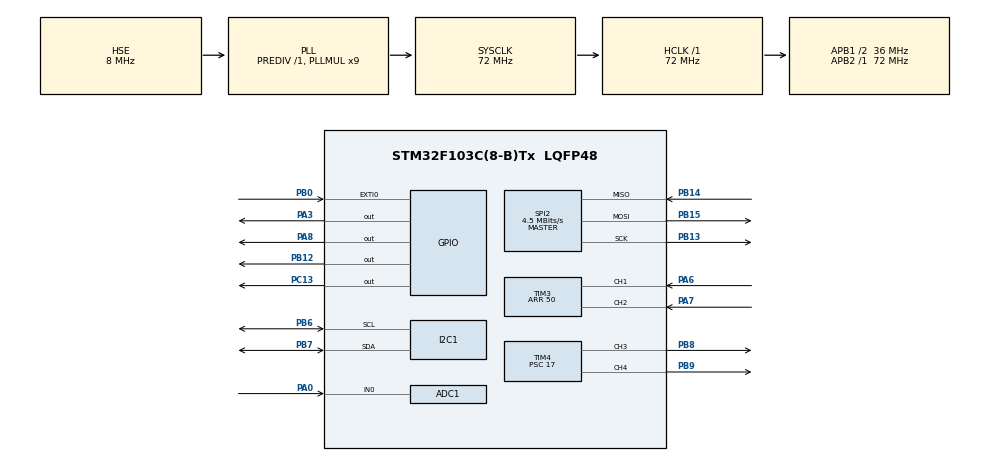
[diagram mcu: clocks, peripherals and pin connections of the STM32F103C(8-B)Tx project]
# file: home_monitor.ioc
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ADC1.Channel-0\#ChannelRegularConversion=ADC_CHANNEL_0
ADC1.ContinuousConvMode=ENABLE
ADC1.NbrOfConversion=1
ADC1.NbrOfConversionFlag=1
ADC1.Rank-0\#ChannelRegularConversion=1
ADC1.SamplingTime-0\#ChannelRegularConversion=ADC_SAMPLETIME_71CYCLES_5
ADC1.master=1
Mcu.Family=STM32F1
Mcu.Name=STM32F103C(8-B)Tx
Mcu.Package=LQFP48
NVIC.EXTI0_IRQn=true\:0\:0\:false\:false\:true\:true\:true\:true
NVIC.PriorityGroup=NVIC_PRIORITYGROUP_4
PA0-WKUP.Signal=ADCx_IN0
PA13.Mode=Serial_Wire
PA13.Signal=SYS_JTMS-SWDIO
PA14.Mode=Serial_Wire
PA14.Signal=SYS_JTCK-SWCLK
PA3.PinState=GPIO_PIN_SET
PA3.Signal=GPIO_Output
PA6.Signal=S_TIM3_CH1
PA7.Signal=S_TIM3_CH2
PA8.Signal=GPIO_Output
PB0.GPIO_ModeDefaultEXTI=GPIO_MODE_IT_FALLING
PB0.GPIO_PuPd=GPIO_PULLUP
PB0.Signal=GPXTI0
PB12.PinState=GPIO_PIN_SET
PB12.Signal=GPIO_Output
PB13.Mode=Full_Duplex_Master
PB13.Signal=SPI2_SCK
PB14.Mode=Full_Duplex_Master
PB14.Signal=SPI2_MISO
PB15.Mode=Full_Duplex_Master
PB15.Signal=SPI2_MOSI
PB6.Mode=I2C
PB6.Signal=I2C1_SCL
PB7.Mode=I2C
PB7.Signal=I2C1_SDA
PB8.Signal=S_TIM4_CH3
PB9.Signal=S_TIM4_CH4
PC13-TAMPER-RTC.PinState=GPIO_PIN_SET
PC13-TAMPER-RTC.Signal=GPIO_Output
PD0-OSC_IN.Mode=HSE-External-Oscillator
PD0-OSC_IN.Signal=RCC_OSC_IN
PD1-OSC_OUT.Mode=HSE-External-Oscillator
PD1-OSC_OUT.Signal=RCC_OSC_OUT
ProjectManager.HeapSize=0x200
ProjectManager.StackSize=0x400
ProjectManager.TargetToolchain=MDK-ARM V5.32
RCC.ADCPresc=RCC_ADCPCLK2_DIV6
RCC.AHBFreq_Value=72000000
RCC.APB1CLKDivider=RCC_HCLK_DIV2
RCC.APB1Freq_Value=36000000
RCC.APB1TimFreq_Value=72000000
RCC.APB2Freq_Value=72000000
RCC.APB2TimFreq_Value=72000000
RCC.HCLKFreq_Value=72000000
RCC.PLLMUL=RCC_PLL_MUL9
RCC.PLLSourceVirtual=RCC_PLLSOURCE_HSE
RCC.SYSCLKFreq_VALUE=72000000
RCC.SYSCLKSource=RCC_SYSCLKSOURCE_PLLCLK
RCC.USBFreq_Value=72000000
SH.ADCx_IN0.0=ADC1_IN0,IN0
SH.S_TIM3_CH1.0=TIM3_CH1,Encoder_Interface
SH.S_TIM3_CH2.0=TIM3_CH2,Encoder_Interface
SH.S_TIM4_CH3.0=TIM4_CH3,PWM Generation3 CH3
SH.S_TIM4_CH4.0=TIM4_CH4,PWM Generation4 CH4
SPI2.BaudRatePrescaler=SPI_BAUDRATEPRESCALER_8
SPI2.CalculateBaudRate=4.5 MBits/s
SPI2.Direction=SPI_DIRECTION_2LINES
SPI2.Mode=SPI_MODE_MASTER
SPI2.VirtualType=VM_MASTER
TIM3.AutoReloadPreload=TIM_AUTORELOAD_PRELOAD_ENABLE
TIM3.Period=50
TIM4.Channel-PWM\ Generation3\ CH3=TIM_CHANNEL_3
TIM4.Channel-PWM\ Generation4\ CH4=TIM_CHANNEL_4
TIM4.Period=99
TIM4.Prescaler=17
VP_TIM4_VS_ClockSourceINT.Mode=Internal
board=custom

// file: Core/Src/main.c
/* USER CODE BEGIN Header */
/**
  ******************************************************************************
  * @file           : main.c
  * @brief          : 家庭环境监测�? �? 主程�?
  *   DHT11 温湿�? + 光敏(ADC)光照 �? OLED显示 �? 自动风扇控制
  *   �? 蜂鸣�?/LED报警 �? W25Qxx日志记录 �?
  ******************************************************************************
  */
/* USER CODE END Header */
#include "main.h"

/* USER CODE BEGIN Includes */
#include "oled_ssd1306.h"
#include "encoder.h"
#include "dht11.h"
#include "motor_l9110s.h"
#include "w25qxx.h"
#include "buzzer.h"
#include "light_sensor.h"
#include <string.h>
#include <stdio.h>
/* USER CODE END Includes */

/* USER CODE BEGIN PD */
/* 系统配置 */
#define LOG_INTERVAL_S    60    /* Flash 数据记录间隔（秒�? */
#define SENSOR_READ_MS    1200  /* DHT11 读取间隔（毫秒） */
#define FLASH_CFG_ADDR    0x000000  /* 配置区（扇区0�?4KB�? */
#define FLASH_LOG_ADDR    0x001000  /* 日志区（扇区1�?4KB�? */
#define FLASH_LOG_SIZE    4096
/* 每条日志 8 字节：温�?(1) + 湿度(1) + 光照(1) + 风扇(1) + 序列�?(2) + 标志(1) + 保留(1) */
#define LOG_ENTRY_SIZE    8
/* USER CODE END PD */

ADC_HandleTypeDef hadc1;

I2C_HandleTypeDef hi2c1;

SPI_HandleTypeDef hspi2;

TIM_HandleTypeDef htim3;
TIM_HandleTypeDef htim4;

/* USER CODE BEGIN PV */
/* �?�? 传感器数�? �?�? */
uint8_t  dht_temp = 0, dht_hum = 0, dht_ok = 0;
uint8_t  light_level = 0;           /* B2K 电位�? �? 光照 0~100% */
uint32_t sensor_tick = 0;

/* �?�? 控制状�?? �?�? */
uint8_t  page = 0;                  /* 0=仪表�? 1=设置 2=日志 */
uint8_t  manual_mode = 0;           /* 0=自动 1=手动 */
uint8_t  motor_speed = 0;
uint8_t  temp_threshold = 30;       /* 温度报警阈�?? */
uint8_t  light_threshold = 80;      /* 光照报警阈�?? */

/* �?�? 报警状�?? �?�? */
uint8_t  alarm_temp = 0;            /* 温度告警 */
uint8_t  alarm_light = 0;           /* 强光告警 */
uint32_t alarm_tick = 0;
uint8_t  alarm_blink = 0;
uint32_t buzzer_tick = 0;
uint8_t  buzzer_beeping = 0;

/* �?�? Flash 日志 �?�? */
uint32_t log_count = 0;             /* 已记录条�? */
uint32_t log_tick = 0;

/* �?�? 编码器辅�? �?�? */
int32_t  enc_last = 0;
uint8_t  set_item = 0;   /* 设置�?: 0=调节 1=模式 2=保存 */
uint8_t  set_focus = 0;  /* 0=调温�? 1=调光�? */
/* USER CODE END PV */

void SystemClock_Config(void);
static void MX_GPIO_Init(void);
static void MX_ADC1_Init(void);
static void MX_I2C1_Init(void);
static void MX_SPI2_Init(void);
static void MX_TIM3_Init(void);
static void MX_TIM4_Init(void);

int main(void)
{

  /* MCU Configuration--------------------------------------------------------*/

  /* Reset of all peripherals, Initializes the Flash interface and the Systick. */
  HAL_Init();

  /* Configure the system clock */
  SystemClock_Config();

  /* Initialize all configured peripherals */
  MX_GPIO_Init();
  MX_ADC1_Init();
  MX_I2C1_Init();
  MX_SPI2_Init();
  MX_TIM3_Init();
  MX_TIM4_Init();
  /* USER CODE BEGIN 2 */
  /* �?�? 1. 显示屏启�? �?�? */
  OLED_Init();
  OLED_Clear();
  OLED_ShowString(28, 0, "Home Monitor");
  OLED_ShowString(34, 3, "Starting...");
  OLED_Refresh();
  HAL_Delay(800);

  /* �?�? 2. 初始化所有外�? �?�? */
  Buzzer_Init();
  Encoder_Init();
  Motor_Init();
  W25Q_Init();
  LightSensor_Init();
  DHT11_Init();

  /* �?�? 3. �? Flash 加载设置 �?�? */
  {
    uint8_t cfg[2] = {0};
    W25Q_Read(FLASH_CFG_ADDR, cfg, 2);
    if (cfg[0] >= 20 && cfg[0] <= 50) temp_threshold = cfg[0];
    if (cfg[1] <= 100)               light_threshold = cfg[1];
  }

  OLED_Clear();
  OLED_ShowString(28, 1, "Home Monitor");
  OLED_ShowString(28, 3, "System Ready");
  OLED_Refresh();
  HAL_Delay(1500);
  /* USER CODE END 2 */

  /* Infinite loop */
  while (1)
  {

    /* USER CODE BEGIN 3 */

    /* ==== 传感器采�? ==== */
    if (HAL_GetTick() - sensor_tick >= SENSOR_READ_MS)
    {
        sensor_tick = HAL_GetTick();
        { uint8_t t_dec=0, h_dec=0; dht_ok = (DHT11_Read_Data(&dht_temp,&t_dec,&dht_hum,&h_dec)==0); }
        light_level = LightSensor_GetPercent();
    }

    /* ==== 自动控制 ==== */
    alarm_temp  = (dht_ok && dht_temp > temp_threshold);
    alarm_light = (light_level > light_threshold);
    if (!manual_mode)
    {
        if (alarm_temp)
        {
            uint8_t over = dht_temp - temp_threshold;
            motor_speed = (over>=5) ? 100 : (50+over*10);
            if (motor_speed>100) motor_speed=100;
            Motor_Forward(motor_speed);
        }
        else { motor_speed=0; Motor_Coast(); }
    }

    /* ==== 声光报警 ==== */
    if (alarm_temp || alarm_light)
    {
        if (!buzzer_beeping && HAL_GetTick()-buzzer_tick>=500)
        { buzzer_tick=HAL_GetTick(); buzzer_beeping=1; Buzzer_On(); }
        else if (buzzer_beeping && HAL_GetTick()-buzzer_tick>=100)
        { buzzer_tick=HAL_GetTick(); buzzer_beeping=0; Buzzer_Off(); }
        if (HAL_GetTick()-alarm_tick>=250)
        { alarm_tick=HAL_GetTick(); alarm_blink=!alarm_blink;
          HAL_GPIO_WritePin(GPIOC,GPIO_PIN_13,alarm_blink?GPIO_PIN_RESET:GPIO_PIN_SET); }
    }
    else { Buzzer_Off(); buzzer_beeping=0; HAL_GPIO_WritePin(GPIOC,GPIO_PIN_13,GPIO_PIN_SET); }

    /* ==== Flash 日志 ==== */
    if (HAL_GetTick()-log_tick>=LOG_INTERVAL_S*1000UL)
    {
        log_tick=HAL_GetTick();
        uint32_t addr=FLASH_LOG_ADDR+log_count*LOG_ENTRY_SIZE;
        if (addr+LOG_ENTRY_SIZE<FLASH_LOG_ADDR+FLASH_LOG_SIZE)
        {
            uint8_t e[LOG_ENTRY_SIZE];
            e[0]=dht_ok?dht_temp:0xFF; e[1]=dht_ok?dht_hum:0xFF;
            e[2]=light_level; e[3]=motor_speed;
            e[4]=(uint8_t)(log_count>>8); e[5]=(uint8_t)log_count;
            e[6]=alarm_temp|(alarm_light<<1); e[7]=0;
            if (log_count==0) W25Q_EraseSector(FLASH_LOG_ADDR);
            W25Q_Write(addr,e,LOG_ENTRY_SIZE);
            log_count++;
        }
    }

    /* ==== 按键翻页 ==== */
    {
        uint8_t btn = Encoder_GetButtonPressed();
        if (btn)
        {
            if (page == 1)
            {
                if (set_item==0 && set_focus==0) set_focus=1;
                else { set_item=(set_item+1)%3; set_focus=0; }
            }
            else page=(page+1)%4;
            Encoder_Reset(); enc_last=Encoder_GetCount();
        }
    }

    OLED_Clear();

    /* ========== Page 0：仪表盘 ========== */
    if (page == 0)
    {
        char buf[21];

        /* 标题�? �? 反色 */
        OLED_FillRect(0, 0, 128, 10, 1);
        OLED_InvertArea(0, 0, 128, 10);
        OLED_ShowString(28, 0, "HOME MONITOR");
        OLED_DrawHLine(0, 10, 128, 1);

        /* 温湿�? */
        if (dht_ok)
            sprintf(buf, "T:%2dC  H:%2d%%", dht_temp, dht_hum);
        else
            sprintf(buf, "T:--C  H:--%%");
        OLED_ShowString(0, 2, buf);

        /* 光照 */
        sprintf(buf, "L:%3d%%", light_level);
        OLED_ShowString(0, 3, buf);

        /* 风扇 */
        sprintf(buf, "F:%3d%%", motor_speed);
        OLED_ShowString(0, 4, buf);

        /* 报警状�?? */
        if (alarm_temp || alarm_light)
        {
            sprintf(buf, "!! %s%s !!",
                    alarm_temp  ? "TEMP " : "",
                    alarm_light ? "LIGHT" : "");
            OLED_ShowString(0, 5, buf);
        }
        else
        {
            OLED_ShowString(0, 5, "Status: Normal");
        }

        /* 底栏分隔 + 状�?? */
        OLED_DrawHLine(0, 54, 128, 1);
        sprintf(buf, "Log:%lu", log_count);
        OLED_ShowString(0, 7, buf);
    }
    /* ========== Page 1：设�? ========== */
    else if (page == 1)
    {
        char buf[21];
        EncoderDirection dir = Encoder_GetDirection();

        /* 标题�? */
        OLED_FillRect(0, 0, 128, 10, 1);
        OLED_InvertArea(0, 0, 128, 10);
        OLED_ShowString(40, 0, "SETTINGS");
        OLED_DrawHLine(0, 10, 128, 1);

        switch (set_item)
        {
        case 0:
            /* 温度+光照 �? 按键切换焦点 */
            if (set_focus == 0)
            {
                if (dir == ENCODER_DIR_CW  && temp_threshold < 50) temp_threshold++;
                if (dir == ENCODER_DIR_CCW && temp_threshold > 20) temp_threshold--;
            }
            else
            {
                if (dir == ENCODER_DIR_CW  && light_threshold < 100) light_threshold += 5;
                if (dir == ENCODER_DIR_CCW && light_threshold > 10)  light_threshold -= 5;
            }
            OLED_ShowString(0, 2, set_focus ? " Temp:" : ">Temp:");
            sprintf(buf, "%d C", temp_threshold);
            OLED_ShowString(60, 2, buf);
            OLED_ShowString(0, 4, set_focus ? ">Light:" : " Light:");
            sprintf(buf, "%d %%", light_threshold);
            OLED_ShowString(60, 4, buf);
            break;
        case 1:
            /* 模式切换 */
            if (dir == ENCODER_DIR_CW || dir == ENCODER_DIR_CCW)
                manual_mode = !manual_mode;
            OLED_ShowString(0, 2, ">Control Mode");
            OLED_ShowString(0, 4, manual_mode ? " MANUAL" : " AUTO");
            break;
        case 2:
            /* 保存+返回 */
            {
                uint8_t cfg[2] = {temp_threshold, light_threshold};
                W25Q_EraseSector(FLASH_CFG_ADDR);
                W25Q_Write(FLASH_CFG_ADDR, cfg, 2);
            }
            page = 0;
            set_item = 0;
            set_focus = 0;
            set_focus = 0;
            Encoder_Reset();
            enc_last = Encoder_GetCount();
            break;
        }
        OLED_DrawHLine(0, 54, 128, 1);
        OLED_ShowString(0, 7, "Btn:next Turn:adj");
    }
    /* ========== Page 2：模式控�? ========== */
    else if (page == 2)
    {
        char buf[21];
        EncoderDirection dir = Encoder_GetDirection();

        /* 标题�? */
        OLED_FillRect(0, 0, 128, 10, 1);
        OLED_InvertArea(0, 0, 128, 10);
        OLED_ShowString(40, 0, "  MODE  ");
        OLED_DrawHLine(0, 10, 128, 1);

        OLED_ShowString(0, 2, "Control:");
        OLED_ShowString(60, 2, manual_mode ? "MANUAL" : "AUTO");

        if (dir != ENCODER_DIR_NONE && !manual_mode)
        {
            /* 自动模式下旋�? �? 切到手动 */
            manual_mode = 1;
        }

        if (manual_mode)
        {
            /* 手动模式：旋转调�? */
            OLED_ShowString(0, 4, "Fan Speed:");
            if (dir == ENCODER_DIR_CW  && motor_speed < 100) motor_speed += 5;
            if (dir == ENCODER_DIR_CCW && motor_speed > 0)   motor_speed -= 5;
            sprintf(buf, "  %3d %%", motor_speed);
            OLED_ShowString(0, 5, buf);
            if (motor_speed > 0) Motor_Forward(motor_speed);
            else Motor_Coast();
        }
        else
        {
            OLED_ShowString(0, 4, "Auto mode:");
            OLED_ShowString(0, 5, " Fan by temp");
            OLED_ShowString(0, 6, " threshold");
        }

        OLED_DrawHLine(0, 54, 128, 1);
        OLED_ShowString(0, 7, "Turn:adj Btn:next");
    }
    /* ========== Page 3：数据日�? ========== */
    else
    {
        char buf[21];

        /* 标题�? */
        OLED_FillRect(0, 0, 128, 10, 1);
        OLED_InvertArea(0, 0, 128, 10);
        OLED_ShowString(40, 0, "DATA LOG");
        OLED_DrawHLine(0, 10, 128, 1);

        sprintf(buf, "Records: %lu", log_count);
        OLED_ShowString(0, 2, buf);

        if (log_count > 0)
        {
            /* �?新一�? */
            uint32_t addr = FLASH_LOG_ADDR + (log_count - 1) * LOG_ENTRY_SIZE;
            uint8_t entry[LOG_ENTRY_SIZE];
            W25Q_Read(addr, entry, LOG_ENTRY_SIZE);

            OLED_ShowString(0, 3, "Latest:");
            sprintf(buf, "T=%dC H=%d%% L=%d%%",
                    entry[0] != 0xFF ? entry[0] : 0,
                    entry[1] != 0xFF ? entry[1] : 0,
                    entry[2]);
            OLED_ShowString(0, 4, buf);

            /* �?早一�? */
            addr = FLASH_LOG_ADDR;
            W25Q_Read(addr, entry, LOG_ENTRY_SIZE);

            OLED_ShowString(0, 5, "Oldest:");
            sprintf(buf, "T=%dC H=%d%% L=%d%%",
                    entry[0] != 0xFF ? entry[0] : 0,
                    entry[1] != 0xFF ? entry[1] : 0,
                    entry[2]);
            OLED_ShowString(0, 6, buf);
        }
        else
        {
            OLED_ShowString(16, 3, "No data yet...");
            OLED_ShowString(4, 5, "Auto-log every 60s");
        }
        OLED_DrawHLine(0, 54, 128, 1);
        OLED_ShowString(0, 7, "Btn:next page");
    }

    OLED_Refresh();
    HAL_Delay(80);
  }
  /* USER CODE END 3 */
}

void SystemClock_Config(void)
{
  RCC_OscInitTypeDef RCC_OscInitStruct = {0};
  RCC_ClkInitTypeDef RCC_ClkInitStruct = {0};
  RCC_PeriphCLKInitTypeDef PeriphClkInit = {0};

  /** Initializes the RCC Oscillators according to the specified parameters
  * in the RCC_OscInitTypeDef structure.
  */
  RCC_OscInitStruct.OscillatorType = RCC_OSCILLATORTYPE_HSE;
  RCC_OscInitStruct.HSEState = RCC_HSE_ON;
  RCC_OscInitStruct.HSEPredivValue = RCC_HSE_PREDIV_DIV1;
  RCC_OscInitStruct.HSIState = RCC_HSI_ON;
  RCC_OscInitStruct.PLL.PLLState = RCC_PLL_ON;
  RCC_OscInitStruct.PLL.PLLSource = RCC_PLLSOURCE_HSE;
  RCC_OscInitStruct.PLL.PLLMUL = RCC_PLL_MUL9;
  if (HAL_RCC_OscConfig(&RCC_OscInitStruct) != HAL_OK)
  {
    Error_Handler();
  }

  /** Initializes the CPU, AHB and APB buses clocks
  */
  RCC_ClkInitStruct.ClockType = RCC_CLOCKTYPE_HCLK|RCC_CLOCKTYPE_SYSCLK
                              |RCC_CLOCKTYPE_PCLK1|RCC_CLOCKTYPE_PCLK2;
  RCC_ClkInitStruct.SYSCLKSource = RCC_SYSCLKSOURCE_PLLCLK;
  RCC_ClkInitStruct.AHBCLKDivider = RCC_SYSCLK_DIV1;
  RCC_ClkInitStruct.APB1CLKDivider = RCC_HCLK_DIV2;
  RCC_ClkInitStruct.APB2CLKDivider = RCC_HCLK_DIV1;

  if (HAL_RCC_ClockConfig(&RCC_ClkInitStruct, FLASH_LATENCY_2) != HAL_OK)
  {
    Error_Handler();
  }
  PeriphClkInit.PeriphClockSelection = RCC_PERIPHCLK_ADC;
  PeriphClkInit.AdcClockSelection = RCC_ADCPCLK2_DIV6;
  if (HAL_RCCEx_PeriphCLKConfig(&PeriphClkInit) != HAL_OK)
  {
    Error_Handler();
  }
}

static void MX_ADC1_Init(void)
{

  ADC_ChannelConfTypeDef sConfig = {0};

  /** Common config
  */
  hadc1.Instance = ADC1;
  hadc1.Init.ScanConvMode = ADC_SCAN_DISABLE;
  hadc1.Init.ContinuousConvMode = ENABLE;
  hadc1.Init.DiscontinuousConvMode = DISABLE;
  hadc1.Init.ExternalTrigConv = ADC_SOFTWARE_START;
  hadc1.Init.DataAlign = ADC_DATAALIGN_RIGHT;
  hadc1.Init.NbrOfConversion = 1;
  if (HAL_ADC_Init(&hadc1) != HAL_OK)
  {
    Error_Handler();
  }

  /** Configure Regular Channel
  */
  sConfig.Channel = ADC_CHANNEL_0;
  sConfig.Rank = ADC_REGULAR_RANK_1;
  sConfig.SamplingTime = ADC_SAMPLETIME_71CYCLES_5;
  if (HAL_ADC_ConfigChannel(&hadc1, &sConfig) != HAL_OK)
  {
    Error_Handler();
  }

}

static void MX_I2C1_Init(void)
{

  hi2c1.Instance = I2C1;
  hi2c1.Init.ClockSpeed = 100000;
  hi2c1.Init.DutyCycle = I2C_DUTYCYCLE_2;
  hi2c1.Init.OwnAddress1 = 0;
  hi2c1.Init.AddressingMode = I2C_ADDRESSINGMODE_7BIT;
  hi2c1.Init.DualAddressMode = I2C_DUALADDRESS_DISABLE;
  hi2c1.Init.OwnAddress2 = 0;
  hi2c1.Init.GeneralCallMode = I2C_GENERALCALL_DISABLE;
  hi2c1.Init.NoStretchMode = I2C_NOSTRETCH_DISABLE;
  if (HAL_I2C_Init(&hi2c1) != HAL_OK)
  {
    Error_Handler();
  }

}

static void MX_SPI2_Init(void)
{

  /* SPI2 parameter configuration*/
  hspi2.Instance = SPI2;
  hspi2.Init.Mode = SPI_MODE_MASTER;
  hspi2.Init.Direction = SPI_DIRECTION_2LINES;
  hspi2.Init.DataSize = SPI_DATASIZE_8BIT;
  hspi2.Init.CLKPolarity = SPI_POLARITY_LOW;
  hspi2.Init.CLKPhase = SPI_PHASE_1EDGE;
  hspi2.Init.NSS = SPI_NSS_SOFT;
  hspi2.Init.BaudRatePrescaler = SPI_BAUDRATEPRESCALER_8;
  hspi2.Init.FirstBit = SPI_FIRSTBIT_MSB;
  hspi2.Init.TIMode = SPI_TIMODE_DISABLE;
  hspi2.Init.CRCCalculation = SPI_CRCCALCULATION_DISABLE;
  hspi2.Init.CRCPolynomial = 10;
  if (HAL_SPI_Init(&hspi2) != HAL_OK)
  {
    Error_Handler();
  }

}

static void MX_TIM3_Init(void)
{

  TIM_Encoder_InitTypeDef sConfig = {0};
  TIM_MasterConfigTypeDef sMasterConfig = {0};

  htim3.Instance = TIM3;
  htim3.Init.Prescaler = 0;
  htim3.Init.CounterMode = TIM_COUNTERMODE_UP;
  htim3.Init.Period = 50;
  htim3.Init.ClockDivision = TIM_CLOCKDIVISION_DIV1;
  htim3.Init.AutoReloadPreload = TIM_AUTORELOAD_PRELOAD_ENABLE;
  sConfig.EncoderMode = TIM_ENCODERMODE_TI1;
  sConfig.IC1Polarity = TIM_ICPOLARITY_RISING;
  sConfig.IC1Selection = TIM_ICSELECTION_DIRECTTI;
  sConfig.IC1Prescaler = TIM_ICPSC_DIV1;
  sConfig.IC1Filter = 0;
  sConfig.IC2Polarity = TIM_ICPOLARITY_RISING;
  sConfig.IC2Selection = TIM_ICSELECTION_DIRECTTI;
  sConfig.IC2Prescaler = TIM_ICPSC_DIV1;
  sConfig.IC2Filter = 0;
  if (HAL_TIM_Encoder_Init(&htim3, &sConfig) != HAL_OK)
  {
    Error_Handler();
  }
  sMasterConfig.MasterOutputTrigger = TIM_TRGO_RESET;
  sMasterConfig.MasterSlaveMode = TIM_MASTERSLAVEMODE_DISABLE;
  if (HAL_TIMEx_MasterConfigSynchronization(&htim3, &sMasterConfig) != HAL_OK)
  {
    Error_Handler();
  }

}

static void MX_TIM4_Init(void)
{

  TIM_ClockConfigTypeDef sClockSourceConfig = {0};
  TIM_MasterConfigTypeDef sMasterConfig = {0};
  TIM_OC_InitTypeDef sConfigOC = {0};

  htim4.Instance = TIM4;
  htim4.Init.Prescaler = 17;
  htim4.Init.CounterMode = TIM_COUNTERMODE_UP;
  htim4.Init.Period = 99;
  htim4.Init.ClockDivision = TIM_CLOCKDIVISION_DIV1;
  htim4.Init.AutoReloadPreload = TIM_AUTORELOAD_PRELOAD_DISABLE;
  if (HAL_TIM_Base_Init(&htim4) != HAL_OK)
  {
    Error_Handler();
  }
  sClockSourceConfig.ClockSource = TIM_CLOCKSOURCE_INTERNAL;
  if (HAL_TIM_ConfigClockSource(&htim4, &sClockSourceConfig) != HAL_OK)
  {
    Error_Handler();
  }
  if (HAL_TIM_PWM_Init(&htim4) != HAL_OK)
  {
    Error_Handler();
  }
  sMasterConfig.MasterOutputTrigger = TIM_TRGO_RESET;
  sMasterConfig.MasterSlaveMode = TIM_MASTERSLAVEMODE_DISABLE;
  if (HAL_TIMEx_MasterConfigSynchronization(&htim4, &sMasterConfig) != HAL_OK)
  {
    Error_Handler();
  }
  sConfigOC.OCMode = TIM_OCMODE_PWM1;
  sConfigOC.Pulse = 0;
  sConfigOC.OCPolarity = TIM_OCPOLARITY_HIGH;
  sConfigOC.OCFastMode = TIM_OCFAST_DISABLE;
  if (HAL_TIM_PWM_ConfigChannel(&htim4, &sConfigOC, TIM_CHANNEL_3) != HAL_OK)
  {
    Error_Handler();
  }
  if (HAL_TIM_PWM_ConfigChannel(&htim4, &sConfigOC, TIM_CHANNEL_4) != HAL_OK)
  {
    Error_Handler();
  }
  HAL_TIM_MspPostInit(&htim4);

}

static void MX_GPIO_Init(void)
{
  GPIO_InitTypeDef GPIO_InitStruct = {0};

  /* GPIO Ports Clock Enable */
  __HAL_RCC_GPIOC_CLK_ENABLE();
  __HAL_RCC_GPIOD_CLK_ENABLE();
  __HAL_RCC_GPIOA_CLK_ENABLE();
  __HAL_RCC_GPIOB_CLK_ENABLE();

  /*Configure GPIO pin Output Level */
  HAL_GPIO_WritePin(GPIOC, GPIO_PIN_13, GPIO_PIN_SET);

  /*Configure GPIO pin Output Level */
  HAL_GPIO_WritePin(GPIOA, GPIO_PIN_3, GPIO_PIN_SET);

  /*Configure GPIO pin Output Level */
  HAL_GPIO_WritePin(GPIOB, GPIO_PIN_12, GPIO_PIN_SET);

  /*Configure GPIO pin Output Level */
  HAL_GPIO_WritePin(GPIOA, GPIO_PIN_8, GPIO_PIN_RESET);

  /*Configure GPIO pin : PC13 */
  GPIO_InitStruct.Pin = GPIO_PIN_13;
  GPIO_InitStruct.Mode = GPIO_MODE_OUTPUT_PP;
  GPIO_InitStruct.Pull = GPIO_NOPULL;
  GPIO_InitStruct.Speed = GPIO_SPEED_FREQ_LOW;
  HAL_GPIO_Init(GPIOC, &GPIO_InitStruct);

  /*Configure GPIO pins : PA3 PA8 */
  GPIO_InitStruct.Pin = GPIO_PIN_3|GPIO_PIN_8;
  GPIO_InitStruct.Mode = GPIO_MODE_OUTPUT_PP;
  GPIO_InitStruct.Pull = GPIO_NOPULL;
  GPIO_InitStruct.Speed = GPIO_SPEED_FREQ_LOW;
  HAL_GPIO_Init(GPIOA, &GPIO_InitStruct);

  /*Configure GPIO pin : PB0 */
  GPIO_InitStruct.Pin = GPIO_PIN_0;
  GPIO_InitStruct.Mode = GPIO_MODE_IT_FALLING;
  GPIO_InitStruct.Pull = GPIO_PULLUP;
  HAL_GPIO_Init(GPIOB, &GPIO_InitStruct);

  /*Configure GPIO pin : PB12 */
  GPIO_InitStruct.Pin = GPIO_PIN_12;
  GPIO_InitStruct.Mode = GPIO_MODE_OUTPUT_PP;
  GPIO_InitStruct.Pull = GPIO_NOPULL;
  GPIO_InitStruct.Speed = GPIO_SPEED_FREQ_LOW;
  HAL_GPIO_Init(GPIOB, &GPIO_InitStruct);

  /* EXTI interrupt init*/
  HAL_NVIC_SetPriority(EXTI0_IRQn, 0, 0);
  HAL_NVIC_EnableIRQ(EXTI0_IRQn);

}

void Error_Handler(void)
{
  __disable_irq();
  while (1)
  {
  }
}
